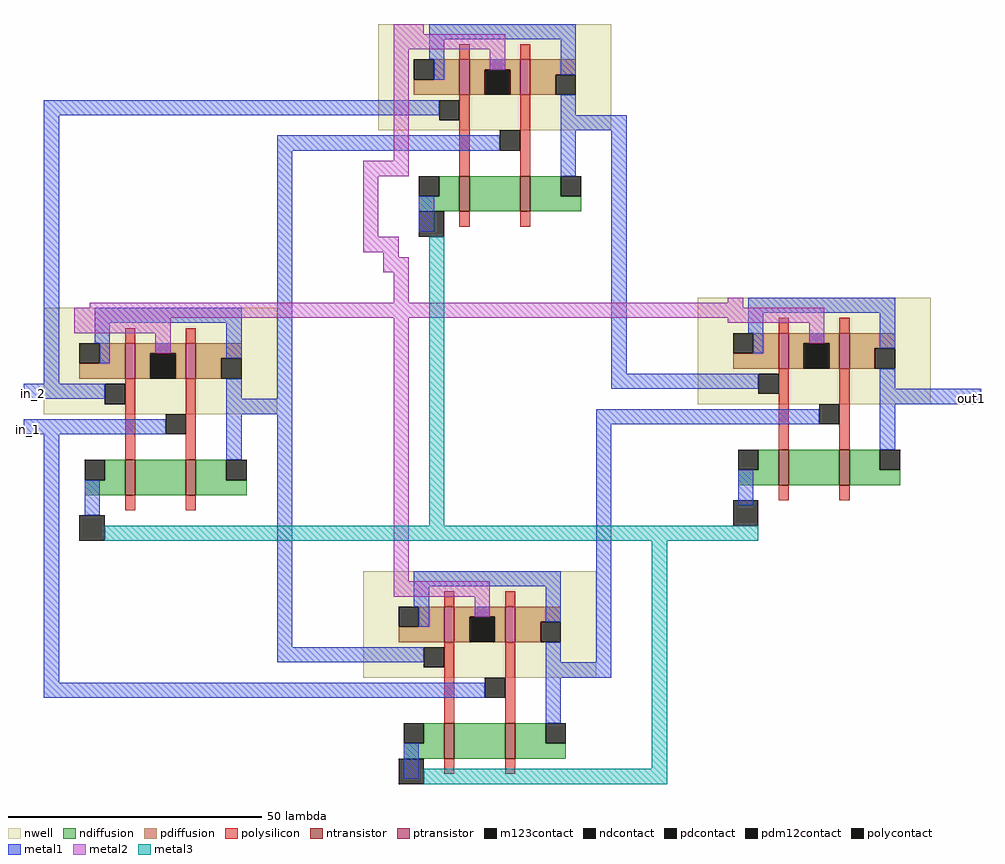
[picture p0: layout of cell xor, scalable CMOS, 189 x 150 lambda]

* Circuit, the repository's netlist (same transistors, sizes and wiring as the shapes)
* SPICE3 file created from xor.ext - technology: scmos
.include TSMC_180nm.txt
.option scale=0.09u

M1000 2nand_3/in1 2nand_2/in1 2nand_0/a_n21_1# Gnd CMOSN w=7 l=2
+  ad=70 pd=34 as=70 ps=34
M1001 2nand_0/a_n21_1# in_2 gnd Gnd CMOSN w=7 l=2
+  ad=0 pd=0 as=224 ps=120
M1002 2nand_3/in1 2nand_2/in1 vdd 2nand_0/w_n39_17# CMOSP w=7 l=2
+  ad=126 pd=64 as=280 ps=136
M1003 vdd in_2 2nand_3/in1 2nand_0/w_n39_17# CMOSP w=7 l=2
+  ad=0 pd=0 as=0 ps=0
M1004 2nand_2/in1 in_1 2nand_1/a_n21_1# Gnd CMOSN w=7 l=2
+  ad=70 pd=34 as=70 ps=34
M1005 2nand_1/a_n21_1# in_2 gnd Gnd CMOSN w=7 l=2
+  ad=0 pd=0 as=0 ps=0
M1006 2nand_2/in1 in_1 vdd 2nand_1/w_n39_17# CMOSP w=7 l=2
+  ad=126 pd=64 as=0 ps=0
M1007 vdd in_2 2nand_2/in1 2nand_1/w_n39_17# CMOSP w=7 l=2
+  ad=0 pd=0 as=0 ps=0
M1008 2nand_3/in2 in_1 2nand_2/a_n21_1# Gnd CMOSN w=7 l=2
+  ad=70 pd=34 as=70 ps=34
M1009 2nand_2/a_n21_1# 2nand_2/in1 gnd Gnd CMOSN w=7 l=2
+  ad=0 pd=0 as=0 ps=0
M1010 2nand_3/in2 in_1 vdd 2nand_2/w_n39_17# CMOSP w=7 l=2
+  ad=126 pd=64 as=0 ps=0
M1011 vdd 2nand_2/in1 2nand_3/in2 2nand_2/w_n39_17# CMOSP w=7 l=2
+  ad=0 pd=0 as=0 ps=0
M1012 out1 2nand_3/in2 2nand_3/a_n21_1# Gnd CMOSN w=7 l=2
+  ad=70 pd=34 as=70 ps=34
M1013 2nand_3/a_n21_1# 2nand_3/in1 gnd Gnd CMOSN w=7 l=2
+  ad=0 pd=0 as=0 ps=0
M1014 out1 2nand_3/in2 vdd 2nand_3/w_n39_17# CMOSP w=7 l=2
+  ad=126 pd=64 as=0 ps=0
M1015 vdd 2nand_3/in1 out1 2nand_3/w_n39_17# CMOSP w=7 l=2
+  ad=0 pd=0 as=0 ps=0

Vdd vdd gnd 2

V_in_a in_1 gnd DC 0
V_in_b in_2 gnd DC 0

.tran 1u 10000u




.control
run
set color0 = rgb:f/f/e
set color1 = black
plot v(out1) v(in_1)+3 v(in_2)+5 
.endc
.end

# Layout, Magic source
magic
tech scmos
<< metal1 >>
rect -65 27 1 30
rect -65 -26 -62 27
rect -19 20 4 23
rect -69 -29 -65 -26
rect -19 -29 -16 20
rect 47 -24 50 24
rect 47 -27 67 -24
rect -18 -32 -16 -29
rect 113 -30 120 -27
rect -69 -36 -62 -33
rect -65 -85 -62 -36
rect -19 -78 -16 -32
rect 44 -32 64 -31
rect 44 -34 74 -32
rect -19 -81 1 -78
rect 44 -81 47 -34
rect -65 -88 -2 -85
<< metal2 >>
rect 4 18 7 45
rect -2 15 7 18
rect -2 3 1 15
rect -2 0 5 3
rect 2 -1 5 0
rect 2 -4 7 -1
rect 4 -10 7 -4
rect -56 -13 73 -10
rect 4 -63 7 -13
<< m123contact >>
rect 9 3 14 8
rect -58 -57 -53 -52
rect 71 -54 76 -49
rect 5 -105 10 -100
<< metal3 >>
rect 11 -54 14 3
rect -53 -57 76 -54
rect 55 -102 58 -57
rect 10 -105 58 -102
use 2nand  2nand_3
transform 1 0 103 0 1 -47
box -39 -3 10 38
use 2nand  2nand_2
transform 1 0 37 0 1 -101
box -39 -3 10 38
use 2nand  2nand_1
transform 1 0 -26 0 1 -49
box -39 -3 10 38
use 2nand  2nand_0
transform 1 0 40 0 1 7
box -39 -3 10 38
<< labels >>
rlabel metal1 118 -29 118 -29 7 out1
rlabel metal1 -68 -35 -68 -35 3 in_1
rlabel metal1 -67 -28 -67 -28 3 in_2
<< end >>

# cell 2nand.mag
magic
tech scmos
<< nwell >>
rect -39 17 7 38
<< ntransistor >>
rect -23 1 -21 8
rect -11 1 -9 8
<< ptransistor >>
rect -23 24 -21 31
rect -11 24 -9 31
<< ndiffusion >>
rect -27 4 -23 8
rect -31 1 -23 4
rect -21 1 -11 8
rect -9 4 -3 8
rect -9 1 1 4
<< pdiffusion >>
rect -28 27 -23 31
rect -32 24 -23 27
rect -21 29 -11 31
rect -21 24 -18 29
rect -13 24 -11 29
rect -9 28 0 31
rect -9 24 -4 28
<< ndcontact >>
rect -31 4 -27 8
rect -3 4 1 8
<< pdcontact >>
rect -32 27 -28 31
rect -18 24 -13 29
rect -4 24 0 28
<< polysilicon >>
rect -23 31 -21 34
rect -11 31 -9 34
rect -23 8 -21 24
rect -11 8 -9 24
rect -23 -2 -21 1
rect -11 -2 -9 1
<< polycontact >>
rect -27 19 -23 23
rect -15 13 -11 17
<< metal1 >>
rect -29 35 0 38
rect -29 31 -26 35
rect -28 27 -26 31
rect -17 29 -14 31
rect -3 28 0 35
rect -39 20 -27 23
rect -3 20 0 24
rect -3 17 10 20
rect -39 13 -15 16
rect -3 8 0 17
rect -31 -3 -28 4
<< pdm12contact >>
rect -18 24 -13 29
<< metal2 >>
rect -33 36 -30 38
rect -33 33 -14 36
rect -17 29 -14 33
<< labels >>
rlabel metal1 9 18 9 18 7 out
rlabel ndcontact -29 6 -29 6 1 gnd!
rlabel metal2 -32 36 -32 36 5 vdd!
rlabel metal1 -38 21 -38 21 3 in1
rlabel metal1 -37 14 -37 14 3 in2
<< end >>
